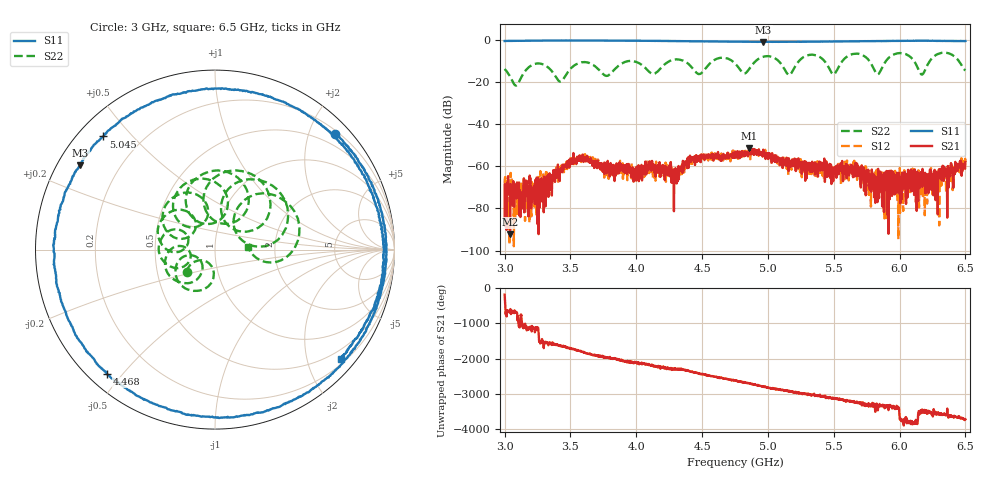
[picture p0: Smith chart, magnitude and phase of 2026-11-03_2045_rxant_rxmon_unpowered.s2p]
! HEWLETT PACKARD,8720ES,MY41003347,7.72, via bringup/vna_tests.py
! rxant_rxmon_unpowered
! measured 2026-11-03 20:46:24, 1601 points, 3000000000-6500000000 Hz, IF bandwidth 1000 Hz, source -40.00 dBm, kit CALK35MD
# HZ S RI R 50
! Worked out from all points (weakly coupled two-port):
!   1601 points, 3 GHz to 6.5 GHz, reference 50 ohm
!   highest |S21| = -51.54 dB at 4.857 GHz (marker M1); lowest = -92.2 dB at 3.042 GHz (marker M2)
!   lowest |S11| = -1.1 dB at 4.964 GHz (marker M3), VSWR 16.45, Z = 3.29 + j14.3 ohm
!   |S11| at or under -10 dB: nowhere
!   |S22| runs from -21.8 to -6.1 dB; largest |S21 - S12| = 0.0011
!   S11 on the Smith chart (normalised r, x): 3 GHz: 0.26, +2.45; 4.468 GHz: 0.05, -0.46; 5.045 GHz: 0.07, +0.42; 6.5 GHz: 0.30, -2.64
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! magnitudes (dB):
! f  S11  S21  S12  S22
! 3 GHz  -0.6  -84.3  -68.2  -13.9
! 3.042 GHz  -0.6  -92.2  -68.4  -17.5
! 3.186 GHz  -0.5  -71.6  -74.4  -12.9
! 3.424 GHz  -0.4  -61.3  -62.5  -19.8
! 3.584 GHz  -0.4  -57.0  -55.6  -10.7
! 4.168 GHz  -0.6  -60.5  -61.6  -14.7
! 4.302 GHz  -0.7  -61.5  -64.4  -9.3
! 4.468 GHz  -0.8  -57.4  -54.4  -16.2
! 4.75 GHz  -0.9  -55.0  -56.0  -11.3
! 4.857 GHz  -1.0  -51.5  -53.9  -13.9
! 4.964 GHz  -1.1  -52.1  -53.5  -8.1
! 5.045 GHz  -1.1  -57.5  -57.0  -8.5
! 5.161 GHz  -1.0  -60.5  -56.9  -16.7
! 5.334 GHz  -0.9  -62.8  -59.5  -7.1
! 5.498 GHz  -0.9  -62.3  -64.0  -16.5
! 5.64 GHz  -0.8  -61.5  -63.6  -6.9
! 5.833 GHz  -0.7  -77.0  -75.3  -16.4
! 5.918 GHz  -0.6  -67.1  -80.0  -8.6
! 6.052 GHz  -0.5  -69.3  -68.1  -7.0
! 6.17 GHz  -0.5  -63.9  -70.1  -16.6
! 6.356 GHz  -0.6  -63.5  -61.0  -6.2
! 6.5 GHz  -0.7  -58.0  -59.1  -14.6
